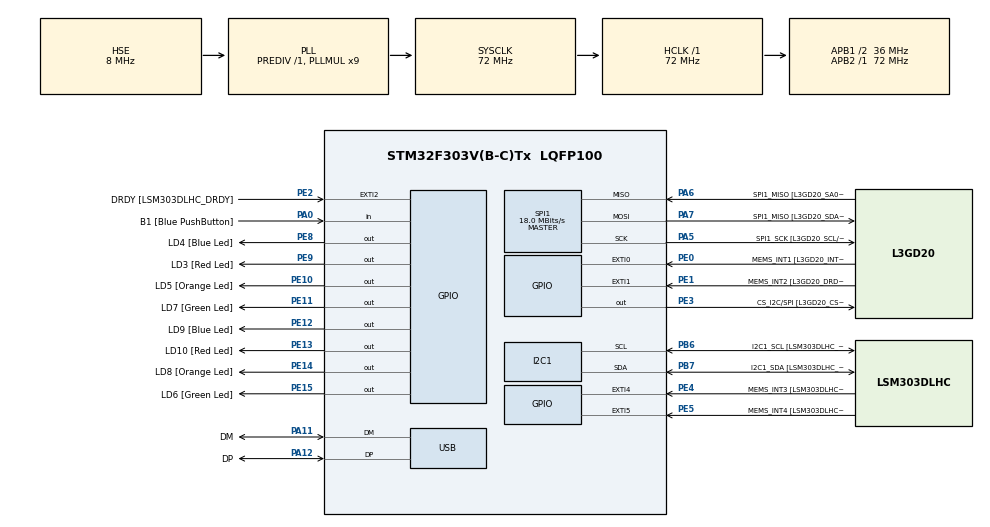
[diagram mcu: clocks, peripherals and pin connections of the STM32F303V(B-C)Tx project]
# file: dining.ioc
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FREERTOS.Tasks01=defaultTask,0,128,StartDefaultTask,Default,NULL
I2C1.Timing-I2C=0x2000090E
Mcu.Family=STM32F3
Mcu.Name=STM32F303V(B-C)Tx
Mcu.Package=LQFP100
NVIC.PriorityGroup=NVIC_PRIORITYGROUP_4
NVIC.TIM2_IRQn=true\:0\:0\:false\:false\:true\:false\:false
NVIC.TimeBase=TIM2_IRQn
NVIC.TimeBaseIP=TIM2
PA0.GPIO_Label=B1 [Blue PushButton]
PA0.Signal=GPIO_Input
PA11.GPIO_Label=DM
PA11.Mode=Device
PA11.Signal=USB_DM
PA12.GPIO_Label=DP
PA12.Mode=Device
PA12.Signal=USB_DP
PA13.GPIO_Label=SWDIO
PA13.Mode=Serial_Wire
PA13.Signal=SYS_JTMS-SWDIO
PA14.GPIO_Label=SWCLK
PA14.Mode=Serial_Wire
PA14.Signal=SYS_JTCK-SWCLK
PA5.GPIO_Label=SPI1_SCK [L3GD20_SCL/SPC]
PA5.Mode=Full_Duplex_Master
PA5.Signal=SPI1_SCK
PA6.GPIO_Label=SPI1_MISO [L3GD20_SA0/SDO]
PA6.Mode=Full_Duplex_Master
PA6.Signal=SPI1_MISO
PA7.GPIO_Label=SPI1_MISO [L3GD20_SDA/SDI/SDO]
PA7.Mode=Full_Duplex_Master
PA7.Signal=SPI1_MOSI
PB3.GPIO_Label=SWO
PB3.Signal=SYS_JTDO-TRACESWO
PB6.GPIO_Label=I2C1_SCL [LSM303DLHC_SCL]
PB6.Mode=I2C
PB6.Signal=I2C1_SCL
PB7.GPIO_Label=I2C1_SDA [LSM303DLHC_SDA]
PB7.Mode=I2C
PB7.Signal=I2C1_SDA
PC14-OSC32_IN.GPIO_Label=OSC32_IN
PC14-OSC32_IN.Signal=RCC_OSC32_IN
PC15-OSC32_OUT.GPIO_Label=OSC32_OUT
PC15-OSC32_OUT.Signal=RCC_OSC32_OUT
PE0.GPIO_Label=MEMS_INT1 [L3GD20_INT1]
PE0.GPIO_ModeDefaultEXTI=GPIO_MODE_EVT_RISING
PE0.Signal=GPXTI0
PE1.GPIO_Label=MEMS_INT2 [L3GD20_DRDY/INT2]
PE1.GPIO_ModeDefaultEXTI=GPIO_MODE_EVT_RISING
PE1.Signal=GPXTI1
PE10.GPIO_Label=LD5 [Orange Led]
PE10.Signal=GPIO_Output
PE11.GPIO_Label=LD7 [Green Led]
PE11.Signal=GPIO_Output
PE12.GPIO_Label=LD9 [Blue Led]
PE12.Signal=GPIO_Output
PE13.GPIO_Label=LD10 [Red Led]
PE13.Signal=GPIO_Output
PE14.GPIO_Label=LD8 [Orange Led]
PE14.Signal=GPIO_Output
PE15.GPIO_Label=LD6 [Green Led]
PE15.Signal=GPIO_Output
PE2.GPIO_Label=DRDY [LSM303DLHC_DRDY]
PE2.GPIO_ModeDefaultEXTI=GPIO_MODE_EVT_RISING
PE2.Signal=GPXTI2
PE3.GPIO_Label=CS_I2C/SPI [L3GD20_CS_I2C/SPI]
PE3.Signal=GPIO_Output
PE4.GPIO_Label=MEMS_INT3 [LSM303DLHC_INT1]
PE4.GPIO_ModeDefaultEXTI=GPIO_MODE_EVT_RISING
PE4.Signal=GPXTI4
PE5.GPIO_Label=MEMS_INT4 [LSM303DLHC_INT2]
PE5.GPIO_ModeDefaultEXTI=GPIO_MODE_EVT_RISING
PE5.Signal=GPXTI5
PE8.GPIO_Label=LD4 [Blue Led]
PE8.Signal=GPIO_Output
PE9.GPIO_Label=LD3 [Red Led]
PE9.Signal=GPIO_Output
PF0-OSC_IN.GPIO_Label=OSC_IN
PF0-OSC_IN.Mode=HSE-External-Clock-Source
PF0-OSC_IN.Signal=RCC_OSC_IN
PF1-OSC_OUT.GPIO_Label=OSC_OUT
PF1-OSC_OUT.Signal=RCC_OSC_OUT
ProjectManager.HeapSize=0x200
ProjectManager.StackSize=0x400
ProjectManager.TargetToolchain=MDK-ARM V5
RCC.AHBFreq_Value=72000000
RCC.APB1CLKDivider=RCC_HCLK_DIV2
RCC.APB1Freq_Value=36000000
RCC.APB1TimFreq_Value=72000000
RCC.APB2Freq_Value=72000000
RCC.APB2TimFreq_Value=72000000
RCC.CortexFreq_Value=72000000
RCC.HCLKFreq_Value=72000000
RCC.HSE_VALUE=8000000
RCC.HSI_VALUE=8000000
RCC.LSE_VALUE=32768
RCC.PLLMUL=RCC_PLL_MUL9
RCC.PRESCALERUSB=RCC_USBCLKSOURCE_PLL_DIV1_5
RCC.SYSCLKFreq_VALUE=72000000
RCC.SYSCLKSourceVirtual=RCC_SYSCLKSOURCE_PLLCLK
RCC.USBFreq_Value=48000000
SPI1.BaudRatePrescaler=SPI_BAUDRATEPRESCALER_4
SPI1.BaudRatePrescaler-Full_Duplex_Master=SPI_BAUDRATEPRESCALER_2
SPI1.CalculateBaudRate=18.0 MBits/s
SPI1.CalculateBaudRate-Full_Duplex_Master=24.0 MBits/s
SPI1.Direction=SPI_DIRECTION_2LINES
SPI1.Mode=SPI_MODE_MASTER
SPI1.Mode-Full_Duplex_Master=SPI_MODE_MASTER
SPI1.VirtualType=VM_MASTER
VP_FREERTOS_VS_ENABLE.Mode=Enabled
VP_SYS_VS_tim2.Mode=TIM2
board=STM32F3DISCOVERY

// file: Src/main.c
/**
  ******************************************************************************
  * @file           : main.c
  * @brief          : Main program body
  ******************************************************************************
  * This notice applies to any and all portions of this file
  * that are not between comment pairs USER CODE BEGIN and
  * USER CODE END. Other portions of this file, whether
  * inserted by the user or by software development tools
  * are owned by their respective copyright owners.
  *
  * Copyright (c) 2018 STMicroelectronics International N.V.
  * All rights reserved.
  *
  * Redistribution and use in source and binary forms, with or without
  * modification, are permitted, provided that the following conditions are met:
  *
  * 1. Redistribution of source code must retain the above copyright notice,
  *    this list of conditions and the following disclaimer.
  * 2. Redistributions in binary form must reproduce the above copyright notice,
  *    this list of conditions and the following disclaimer in the documentation
  *    and/or other materials provided with the distribution.
  * 3. Neither the name of STMicroelectronics nor the names of other
  *    contributors to this software may be used to endorse or promote products
  *    derived from this software without specific written permission.
  * 4. This software, including modifications and/or derivative works of this
  *    software, must execute solely and exclusively on microcontroller or
  *    microprocessor devices manufactured by or for STMicroelectronics.
  * 5. Redistribution and use of this software other than as permitted under
  *    this license is void and will automatically terminate your rights under
  *    this license.
  *
  * THIS SOFTWARE IS PROVIDED BY STMICROELECTRONICS AND CONTRIBUTORS "AS IS"
  * AND ANY EXPRESS, IMPLIED OR STATUTORY WARRANTIES, INCLUDING, BUT NOT
  * LIMITED TO, THE IMPLIED WARRANTIES OF MERCHANTABILITY, FITNESS FOR A
  * PARTICULAR PURPOSE AND NON-INFRINGEMENT OF THIRD PARTY INTELLECTUAL PROPERTY
  * RIGHTS ARE DISCLAIMED TO THE FULLEST EXTENT PERMITTED BY LAW. IN NO EVENT
  * SHALL STMICROELECTRONICS OR CONTRIBUTORS BE LIABLE FOR ANY DIRECT, INDIRECT,
  * INCIDENTAL, SPECIAL, EXEMPLARY, OR CONSEQUENTIAL DAMAGES (INCLUDING, BUT NOT
  * LIMITED TO, PROCUREMENT OF SUBSTITUTE GOODS OR SERVICES; LOSS OF USE, DATA,
  * OR PROFITS; OR BUSINESS INTERRUPTION) HOWEVER CAUSED AND ON ANY THEORY OF
  * LIABILITY, WHETHER IN CONTRACT, STRICT LIABILITY, OR TORT (INCLUDING
  * NEGLIGENCE OR OTHERWISE) ARISING IN ANY WAY OUT OF THE USE OF THIS SOFTWARE,
  * EVEN IF ADVISED OF THE POSSIBILITY OF SUCH DAMAGE.
  *
  ******************************************************************************
  */
#include "main.h"
#include "stm32f3xx_hal.h"
#include "cmsis_os.h"

/* USER CODE BEGIN Includes */
#define LED1 LD6_Pin
#define LED2 LD4_Pin
#define LED3 LD3_Pin
#define LED4 LD5_Pin
#define LED5 LD7_Pin

#define TAKE 1
#define GIVE 0

#define LED_ON(LED_PIN)  HAL_GPIO_WritePin(GPIOE, LED_PIN, GPIO_PIN_SET);
#define LED_OFF(LED_PIN) HAL_GPIO_WritePin(GPIOE, LED_PIN, GPIO_PIN_RESET);
/* USER CODE END Includes */

I2C_HandleTypeDef hi2c1;

SPI_HandleTypeDef hspi1;

PCD_HandleTypeDef hpcd_USB_FS;

osThreadId defaultTaskHandle;

/* USER CODE BEGIN PV */
/* Private variables ---------------------------------------------------------*/
TaskHandle_t xTask1Handle;
TaskHandle_t xTask2Handle;
TaskHandle_t xTask3Handle;
TaskHandle_t xTask4Handle;
TaskHandle_t xTask5Handle;
SemaphoreHandle_t xSemaphore1Handle;
QueueHandle_t xQueue;
/* USER CODE END PV */

void SystemClock_Config(void);
static void MX_GPIO_Init(void);
static void MX_I2C1_Init(void);
static void MX_SPI1_Init(void);
static void MX_USB_PCD_Init(void);
void StartDefaultTask(void const * argument);

/* USER CODE BEGIN PFP */
/* Private function prototypes -----------------------------------------------*/
void Task1(void *pvParameters);
void Task2(void *pvParameters);
void Task3(void *pvParameters);
void Task4(void *pvParameters);
void Task5(void *pvParameters);
/* USER CODE END PFP */

/* USER CODE BEGIN 0 */
void Semaphore(uint16_t state)
{
	switch (state)
  {
  	case TAKE:
		{
			if (xSemaphoreTake(xSemaphore1Handle, 10) == pdTRUE)
			{
			}
			else
			{
				while(1){}
			}
		}
  		break;
  	case GIVE:
		{
			xSemaphoreGive(xSemaphore1Handle);
			taskYIELD();
		}
  		break;
  	default:
		{
			while(1){}
		}
  		break;
  }
}

void Task1(void *pvParameters)
{
	uint16_t delay = 500;
	uint16_t LED = LED1;

	for (;;)
	{
		Semaphore(TAKE);
		LED_ON(LED);
		Semaphore(GIVE);
		vTaskDelay(delay);
		Semaphore(TAKE);
		LED_OFF(LED);
		Semaphore(GIVE);
		vTaskDelay(delay);
	}
}

void Task2(void *pvParameters)
{
	uint16_t delay = 500;
	uint16_t LED = LED2;

	for (;;)
	{
		Semaphore(TAKE);
		LED_ON(LED);
		Semaphore(GIVE);
		vTaskDelay(delay);
		Semaphore(TAKE);
		LED_OFF(LED);
		Semaphore(GIVE);
		vTaskDelay(delay);
	}
}

void Task3(void *pvParameters)
{
	uint16_t delay = 500;
	uint16_t LED = LED3;

	for (;;)
	{
		Semaphore(TAKE);
		LED_ON(LED);
		Semaphore(GIVE);
		vTaskDelay(delay);
		Semaphore(TAKE);
		LED_OFF(LED);
		Semaphore(GIVE);
		vTaskDelay(delay);
	}
}

void Task4(void *pvParameters)
{
	uint16_t delay = 500;
	uint16_t LED = LED4;

	for (;;)
	{
		Semaphore(TAKE);
		LED_ON(LED);
		Semaphore(GIVE);
		vTaskDelay(delay);
		Semaphore(TAKE);
		LED_OFF(LED);
		Semaphore(GIVE);
		vTaskDelay(delay);
	}
}

void Task5(void *pvParameters)
{
	uint16_t delay = 500;
	uint16_t LED = LED5;

	for (;;)
	{
		Semaphore(TAKE);
		LED_ON(LED);
		Semaphore(GIVE);
		vTaskDelay(delay);
		Semaphore(TAKE);
		LED_OFF(LED);
		Semaphore(GIVE);
		vTaskDelay(delay);
	}
}
/* USER CODE END 0 */

int main(void)
{

  /* MCU Configuration----------------------------------------------------------*/

  /* Reset of all peripherals, Initializes the Flash interface and the Systick. */
  HAL_Init();

  /* Configure the system clock */
  SystemClock_Config();

  /* Initialize all configured peripherals */
  MX_GPIO_Init();
  MX_I2C1_Init();
  MX_SPI1_Init();
  MX_USB_PCD_Init();

  /* USER CODE BEGIN RTOS_SEMAPHORES */
  /* add semaphores, ... */
	vSemaphoreCreateBinary(xSemaphore1Handle);
  /* USER CODE END RTOS_SEMAPHORES */

  /* Create the thread(s) */
  /* definition and creation of defaultTask */
  osThreadDef(defaultTask, StartDefaultTask, osPriorityNormal, 0, 128);
  defaultTaskHandle = osThreadCreate(osThread(defaultTask), NULL);

  /* USER CODE BEGIN RTOS_THREADS */
  /* add threads, ... */
	xTaskCreate(Task1, "Task1", 40, NULL, 0, &xTask1Handle);
  xTaskCreate(Task2, "Task2", 40, NULL, 0, &xTask1Handle);
	xTaskCreate(Task3, "Task3", 40, NULL, 0, &xTask1Handle);
	xTaskCreate(Task4, "Task4", 40, NULL, 0, &xTask1Handle);
	xTaskCreate(Task5, "Task5", 40, NULL, 0, &xTask1Handle);
  /* USER CODE END RTOS_THREADS */

  /* USER CODE BEGIN RTOS_QUEUES */
  /* add queues, ... */
	if (NULL == (xQueue = xQueueCreate(10, sizeof(uint16_t))))
	{
		while (1){}
	}
  /* USER CODE END RTOS_QUEUES */

  /* Start scheduler */
  osKernelStart();

  /* We should never get here as control is now taken by the scheduler */

  /* Infinite loop */
  while (1)
  {

  }

}

void SystemClock_Config(void)
{

  RCC_OscInitTypeDef RCC_OscInitStruct;
  RCC_ClkInitTypeDef RCC_ClkInitStruct;
  RCC_PeriphCLKInitTypeDef PeriphClkInit;

    /**Initializes the CPU, AHB and APB busses clocks
    */
  RCC_OscInitStruct.OscillatorType = RCC_OSCILLATORTYPE_HSI|RCC_OSCILLATORTYPE_HSE;
  RCC_OscInitStruct.HSEState = RCC_HSE_BYPASS;
  RCC_OscInitStruct.HSEPredivValue = RCC_HSE_PREDIV_DIV1;
  RCC_OscInitStruct.HSIState = RCC_HSI_ON;
  RCC_OscInitStruct.HSICalibrationValue = 16;
  RCC_OscInitStruct.PLL.PLLState = RCC_PLL_ON;
  RCC_OscInitStruct.PLL.PLLSource = RCC_PLLSOURCE_HSE;
  RCC_OscInitStruct.PLL.PLLMUL = RCC_PLL_MUL9;
  if (HAL_RCC_OscConfig(&RCC_OscInitStruct) != HAL_OK)
  {
    _Error_Handler(__FILE__, __LINE__);
  }

    /**Initializes the CPU, AHB and APB busses clocks
    */
  RCC_ClkInitStruct.ClockType = RCC_CLOCKTYPE_HCLK|RCC_CLOCKTYPE_SYSCLK
                              |RCC_CLOCKTYPE_PCLK1|RCC_CLOCKTYPE_PCLK2;
  RCC_ClkInitStruct.SYSCLKSource = RCC_SYSCLKSOURCE_PLLCLK;
  RCC_ClkInitStruct.AHBCLKDivider = RCC_SYSCLK_DIV1;
  RCC_ClkInitStruct.APB1CLKDivider = RCC_HCLK_DIV2;
  RCC_ClkInitStruct.APB2CLKDivider = RCC_HCLK_DIV1;

  if (HAL_RCC_ClockConfig(&RCC_ClkInitStruct, FLASH_LATENCY_2) != HAL_OK)
  {
    _Error_Handler(__FILE__, __LINE__);
  }

  PeriphClkInit.PeriphClockSelection = RCC_PERIPHCLK_USB|RCC_PERIPHCLK_I2C1;
  PeriphClkInit.I2c1ClockSelection = RCC_I2C1CLKSOURCE_HSI;
  PeriphClkInit.USBClockSelection = RCC_USBCLKSOURCE_PLL_DIV1_5;
  if (HAL_RCCEx_PeriphCLKConfig(&PeriphClkInit) != HAL_OK)
  {
    _Error_Handler(__FILE__, __LINE__);
  }

    /**Configure the Systick interrupt time
    */
  HAL_SYSTICK_Config(HAL_RCC_GetHCLKFreq()/1000);

    /**Configure the Systick
    */
  HAL_SYSTICK_CLKSourceConfig(SYSTICK_CLKSOURCE_HCLK);

  /* SysTick_IRQn interrupt configuration */
  HAL_NVIC_SetPriority(SysTick_IRQn, 15, 0);
}

/* I2C1 init function */
static void MX_I2C1_Init(void)
{

  hi2c1.Instance = I2C1;
  hi2c1.Init.Timing = 0x2000090E;
  hi2c1.Init.OwnAddress1 = 0;
  hi2c1.Init.AddressingMode = I2C_ADDRESSINGMODE_7BIT;
  hi2c1.Init.DualAddressMode = I2C_DUALADDRESS_DISABLE;
  hi2c1.Init.OwnAddress2 = 0;
  hi2c1.Init.OwnAddress2Masks = I2C_OA2_NOMASK;
  hi2c1.Init.GeneralCallMode = I2C_GENERALCALL_DISABLE;
  hi2c1.Init.NoStretchMode = I2C_NOSTRETCH_DISABLE;
  if (HAL_I2C_Init(&hi2c1) != HAL_OK)
  {
    _Error_Handler(__FILE__, __LINE__);
  }

    /**Configure Analogue filter
    */
  if (HAL_I2CEx_ConfigAnalogFilter(&hi2c1, I2C_ANALOGFILTER_ENABLE) != HAL_OK)
  {
    _Error_Handler(__FILE__, __LINE__);
  }

    /**Configure Digital filter
    */
  if (HAL_I2CEx_ConfigDigitalFilter(&hi2c1, 0) != HAL_OK)
  {
    _Error_Handler(__FILE__, __LINE__);
  }

}

/* SPI1 init function */
static void MX_SPI1_Init(void)
{

  /* SPI1 parameter configuration*/
  hspi1.Instance = SPI1;
  hspi1.Init.Mode = SPI_MODE_MASTER;
  hspi1.Init.Direction = SPI_DIRECTION_2LINES;
  hspi1.Init.DataSize = SPI_DATASIZE_4BIT;
  hspi1.Init.CLKPolarity = SPI_POLARITY_LOW;
  hspi1.Init.CLKPhase = SPI_PHASE_1EDGE;
  hspi1.Init.NSS = SPI_NSS_SOFT;
  hspi1.Init.BaudRatePrescaler = SPI_BAUDRATEPRESCALER_4;
  hspi1.Init.FirstBit = SPI_FIRSTBIT_MSB;
  hspi1.Init.TIMode = SPI_TIMODE_DISABLE;
  hspi1.Init.CRCCalculation = SPI_CRCCALCULATION_DISABLE;
  hspi1.Init.CRCPolynomial = 7;
  hspi1.Init.CRCLength = SPI_CRC_LENGTH_DATASIZE;
  hspi1.Init.NSSPMode = SPI_NSS_PULSE_ENABLE;
  if (HAL_SPI_Init(&hspi1) != HAL_OK)
  {
    _Error_Handler(__FILE__, __LINE__);
  }

}

/* USB init function */
static void MX_USB_PCD_Init(void)
{

  hpcd_USB_FS.Instance = USB;
  hpcd_USB_FS.Init.dev_endpoints = 8;
  hpcd_USB_FS.Init.speed = PCD_SPEED_FULL;
  hpcd_USB_FS.Init.ep0_mps = DEP0CTL_MPS_64;
  hpcd_USB_FS.Init.phy_itface = PCD_PHY_EMBEDDED;
  hpcd_USB_FS.Init.low_power_enable = DISABLE;
  hpcd_USB_FS.Init.battery_charging_enable = DISABLE;
  if (HAL_PCD_Init(&hpcd_USB_FS) != HAL_OK)
  {
    _Error_Handler(__FILE__, __LINE__);
  }

}

/** Configure pins as
        * Analog
        * Input
        * Output
        * EVENT_OUT
        * EXTI
*/
static void MX_GPIO_Init(void)
{

  GPIO_InitTypeDef GPIO_InitStruct;

  /* GPIO Ports Clock Enable */
  __HAL_RCC_GPIOE_CLK_ENABLE();
  __HAL_RCC_GPIOC_CLK_ENABLE();
  __HAL_RCC_GPIOF_CLK_ENABLE();
  __HAL_RCC_GPIOA_CLK_ENABLE();
  __HAL_RCC_GPIOB_CLK_ENABLE();

  /*Configure GPIO pin Output Level */
  HAL_GPIO_WritePin(GPIOE, CS_I2C_SPI_Pin|LD4_Pin|LD3_Pin|LD5_Pin
                          |LD7_Pin|LD9_Pin|LD10_Pin|LD8_Pin
                          |LD6_Pin, GPIO_PIN_RESET);

  /*Configure GPIO pins : DRDY_Pin MEMS_INT3_Pin MEMS_INT4_Pin MEMS_INT1_Pin
                           MEMS_INT2_Pin */
  GPIO_InitStruct.Pin = DRDY_Pin|MEMS_INT3_Pin|MEMS_INT4_Pin|MEMS_INT1_Pin
                          |MEMS_INT2_Pin;
  GPIO_InitStruct.Mode = GPIO_MODE_EVT_RISING;
  GPIO_InitStruct.Pull = GPIO_NOPULL;
  HAL_GPIO_Init(GPIOE, &GPIO_InitStruct);

  /*Configure GPIO pins : CS_I2C_SPI_Pin LD4_Pin LD3_Pin LD5_Pin
                           LD7_Pin LD9_Pin LD10_Pin LD8_Pin
                           LD6_Pin */
  GPIO_InitStruct.Pin = CS_I2C_SPI_Pin|LD4_Pin|LD3_Pin|LD5_Pin
                          |LD7_Pin|LD9_Pin|LD10_Pin|LD8_Pin
                          |LD6_Pin;
  GPIO_InitStruct.Mode = GPIO_MODE_OUTPUT_PP;
  GPIO_InitStruct.Pull = GPIO_NOPULL;
  GPIO_InitStruct.Speed = GPIO_SPEED_FREQ_LOW;
  HAL_GPIO_Init(GPIOE, &GPIO_InitStruct);

  /*Configure GPIO pin : B1_Pin */
  GPIO_InitStruct.Pin = B1_Pin;
  GPIO_InitStruct.Mode = GPIO_MODE_INPUT;
  GPIO_InitStruct.Pull = GPIO_NOPULL;
  HAL_GPIO_Init(B1_GPIO_Port, &GPIO_InitStruct);

}

void StartDefaultTask(void const * argument)
{

  for(;;)
  {
    osDelay(1);
  }
}

void HAL_TIM_PeriodElapsedCallback(TIM_HandleTypeDef *htim)
{
  if (htim->Instance == TIM2) {
    HAL_IncTick();
  }
}

void _Error_Handler(char *file, int line)
{
  while(1)
  {
  }
}

/************************ (C) COPYRIGHT STMicroelectronics *****END OF FILE****/
